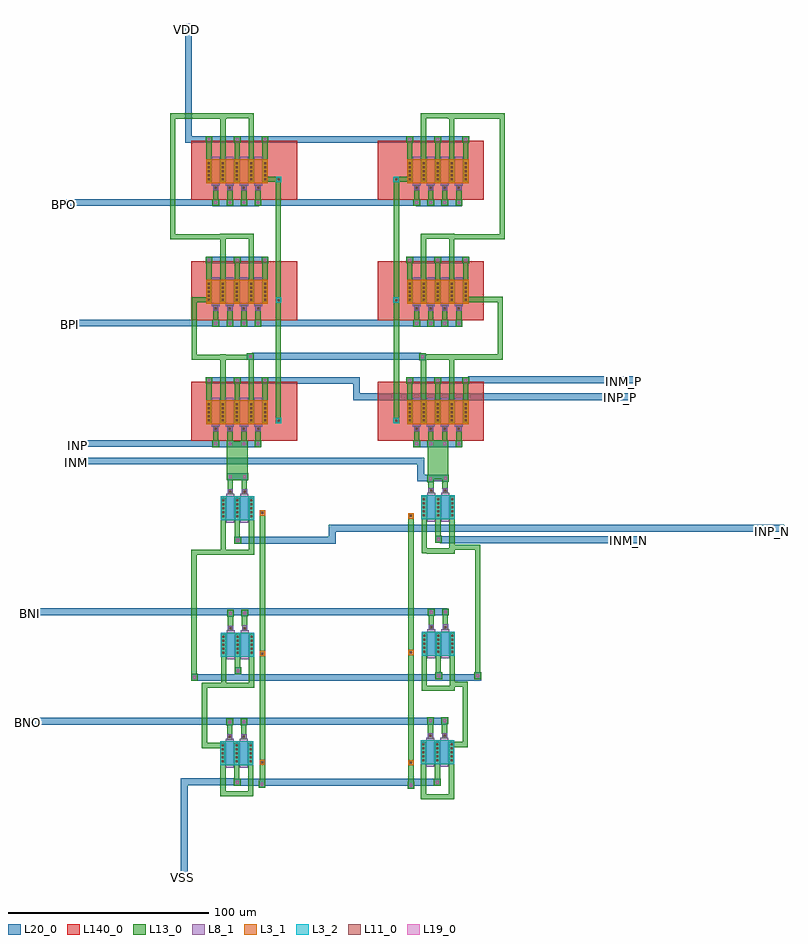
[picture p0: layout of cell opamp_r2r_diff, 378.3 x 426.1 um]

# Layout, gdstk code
from math import pi, radians
import gdstk
lib = gdstk.Library(unit=1e-6, precision=1e-07)
def R(c, l, rs):  # rectangles x0, y0, x1, y1
    for r in rs: c.add(gdstk.rectangle(r[:2], r[2:], *l))
def A(c, l, x, y, w, h, nx, ny, dx, dy):  # array of equal rectangles
    R(c, l, [(x+i*dx, y+j*dy, x+i*dx+w, y+j*dy+h) for i in range(nx) for j in range(ny)])
L3_1 = (3, 1)
L3_2 = (3, 2)
L8_1 = (8, 1)
L11_0 = (11, 0)
L13_0 = (13, 0)
L19_0 = (19, 0)
L20_0 = (20, 0)
L140_0 = (140, 0)

cont_n = lib.new_cell('cont_n')
R(cont_n, L3_2, [(-1.3,-1.3,1.3,1.3)])
R(cont_n, L11_0, [(-0.5,-0.5,0.5,0.5)])
R(cont_n, L13_0, [(-1.3,-1.3,1.3,1.3)])

via_1 = lib.new_cell('via_1')
R(via_1, L13_0, [(-1.7,-1.7,1.7,1.7)])
R(via_1, L19_0, [(-0.7,-0.7,0.7,0.7)])
R(via_1, L20_0, [(-1.7,-1.7,1.7,1.7)])

cont_g = lib.new_cell('cont_g')
R(cont_g, L8_1, [(-1.3,-1.3,1.3,1.3)])
R(cont_g, L11_0, [(-0.5,-0.5,0.5,0.5)])
R(cont_g, L13_0, [(-1.3,-1.3,1.3,1.3)])

fet_p = lib.new_cell('fet_p')
R(fet_p, L3_1, [(-15.3,-6,15.3,6)])
A(fet_p, L11_0, -14.5, -4.5, 1, 1, 5, 5, 7, 2)
A(fet_p, L13_0, -15.3, -5.3, 2.6, 10.6, 5, 1, 7, 0)
fet_p.add(gdstk.FlexPath([(3.5,-7.2),(3.5,7.2)], 4, ends="flush", simple_path=True, layer=8, datatype=1))  # L8_1
fet_p.add(gdstk.FlexPath([(-3.5,-7.2),(-3.5,7.2)], 4, ends="flush", simple_path=True, layer=8, datatype=1))  # L8_1
fet_p.add(gdstk.FlexPath([(10.5,-7.2),(10.5,7.2)], 4, ends="flush", simple_path=True, layer=8, datatype=1))  # L8_1
fet_p.add(gdstk.FlexPath([(-10.5,-7.2),(-10.5,7.2)], 4, ends="flush", simple_path=True, layer=8, datatype=1))  # L8_1

pfet_std = lib.new_cell('PFET_STD')
A(pfet_std, L140_0, 12.2, 3.3, 52.8, 29.2, 1, 3, 0, 60)
pfet_std.add(gdstk.FlexPath([(43.4,165),(27,165)], 2.6, ends="flush", simple_path=True, layer=13, datatype=0))  # L13_0
pfet_std.add(gdstk.FlexPath([(42.1,142.6),(42.1,166.2)], 2.6, ends="flush", simple_path=True, layer=13, datatype=0))  # L13_0
pfet_std.add(gdstk.FlexPath([(45.5,68.4),(45.5,63.4)], 2.6, ends="flush", simple_path=True, layer=13, datatype=0))  # L13_0
pfet_std.add(gdstk.FlexPath([(45.5,128.4),(45.5,123.4)], 2.6, ends="flush", simple_path=True, layer=13, datatype=0))  # L13_0
pfet_std.add(gdstk.FlexPath([(38.5,68.4),(38.5,63.4)], 2.6, ends="flush", simple_path=True, layer=13, datatype=0))  # L13_0
pfet_std.add(gdstk.FlexPath([(38.5,128.4),(38.5,123.4)], 2.6, ends="flush", simple_path=True, layer=13, datatype=0))  # L13_0
pfet_std.add(gdstk.FlexPath([(31.5,68.4),(31.5,63.4)], 2.6, ends="flush", simple_path=True, layer=13, datatype=0))  # L13_0
pfet_std.add(gdstk.FlexPath([(31.5,128.4),(31.5,123.4)], 2.6, ends="flush", simple_path=True, layer=13, datatype=0))  # L13_0
pfet_std.add(gdstk.FlexPath([(28.1,82.4),(28.1,106.3)], 2.6, ends="flush", simple_path=True, layer=13, datatype=0))  # L13_0
pfet_std.add(gdstk.FlexPath([(28.1,142.4),(28.1,166.3)], 2.6, ends="flush", simple_path=True, layer=13, datatype=0))  # L13_0
pfet_std.add(gdstk.FlexPath([(35.1,82.6),(35.1,91.9)], 2.6, ends="flush", simple_path=True, layer=13, datatype=0))  # L13_0
pfet_std.add(gdstk.FlexPath([(35.1,142.6),(35.1,151.9)], 2.6, ends="flush", simple_path=True, layer=13, datatype=0))  # L13_0
pfet_std.add(gdstk.FlexPath([(49,82.5),(49,91.8)], 2.6, ends="flush", simple_path=True, layer=13, datatype=0))  # L13_0
pfet_std.add(gdstk.FlexPath([(49,142.5),(49,151.8)], 2.6, ends="flush", simple_path=True, layer=13, datatype=0))  # L13_0
pfet_std.add(gdstk.FlexPath([(24.5,68.4),(24.5,63.4)], 2.6, ends="flush", simple_path=True, layer=13, datatype=0))  # L13_0
pfet_std.add(gdstk.FlexPath([(24.5,128.4),(24.5,123.4)], 2.6, ends="flush", simple_path=True, layer=13, datatype=0))  # L13_0
pfet_std.add(gdstk.FlexPath([(21.1,82.6),(21.1,91.9)], 2.6, ends="flush", simple_path=True, layer=13, datatype=0))  # L13_0
pfet_std.add(gdstk.FlexPath([(21.1,142.6),(21.1,151.9)], 2.6, ends="flush", simple_path=True, layer=13, datatype=0))  # L13_0
pfet_std.add(gdstk.FlexPath([(28.2,104.8),(3,104.8),(3,164.9),(30,164.9)], 2.6, ends="flush", simple_path=True, layer=13, datatype=0))  # L13_0
pfet_std.add(gdstk.FlexPath([(49.1,133.4),(55.6,133.4),(55.6,12)], 2.6, ends="flush", simple_path=True, layer=13, datatype=0))  # L13_0
pfet_std.add(gdstk.FlexPath([(42.1,22.6),(42.1,46.2)], 2.6, ends="flush", simple_path=True, layer=13, datatype=0))  # L13_0
pfet_std.add(gdstk.FlexPath([(45.5,8.4),(45.5,3.4)], 2.6, ends="flush", simple_path=True, layer=13, datatype=0))  # L13_0
pfet_std.add(gdstk.FlexPath([(38.5,8.4),(38.5,3.4)], 2.6, ends="flush", simple_path=True, layer=13, datatype=0))  # L13_0
pfet_std.add(gdstk.FlexPath([(31.5,8.4),(31.5,3.4)], 2.6, ends="flush", simple_path=True, layer=13, datatype=0))  # L13_0
pfet_std.add(gdstk.FlexPath([(28.1,22.4),(28.1,46.3)], 2.6, ends="flush", simple_path=True, layer=13, datatype=0))  # L13_0
pfet_std.add(gdstk.FlexPath([(35.1,22.6),(35.1,31.9)], 2.6, ends="flush", simple_path=True, layer=13, datatype=0))  # L13_0
pfet_std.add(gdstk.FlexPath([(49,22.5),(49,31.8)], 2.6, ends="flush", simple_path=True, layer=13, datatype=0))  # L13_0
pfet_std.add(gdstk.FlexPath([(24.5,8.4),(24.5,3.4)], 2.6, ends="flush", simple_path=True, layer=13, datatype=0))  # L13_0
pfet_std.add(gdstk.FlexPath([(21.1,22.6),(21.1,31.9)], 2.6, ends="flush", simple_path=True, layer=13, datatype=0))  # L13_0
pfet_std.add(gdstk.FlexPath([(42.1,82.6),(42.1,106.2)], 2.6, ends="flush", simple_path=True, layer=13, datatype=0))  # L13_0
pfet_std.add(gdstk.FlexPath([(43.4,105),(27,105)], 2.6, ends="flush", simple_path=True, layer=13, datatype=0))  # L13_0
pfet_std.add(gdstk.FlexPath([(20,93.2),(50.4,93.2)], 3.4, ends="flush", simple_path=True, layer=20, datatype=0))  # L20_0
pfet_std.add(gdstk.FlexPath([(20,153.2),(50.4,153.2)], 3.4, ends="flush", simple_path=True, layer=20, datatype=0))  # L20_0
pfet_std.add(gdstk.FlexPath([(45.8,61.7),(23,61.7)], 3.4, ends="flush", simple_path=True, layer=20, datatype=0))  # L20_0
pfet_std.add(gdstk.FlexPath([(45.8,121.7),(23,121.7)], 3.4, ends="flush", simple_path=True, layer=20, datatype=0))  # L20_0
pfet_std.add(gdstk.FlexPath([(20,33.2),(50.4,33.2)], 3.4, ends="flush", simple_path=True, layer=20, datatype=0))  # L20_0
pfet_std.add(gdstk.FlexPath([(45.8,1.7),(23,1.7)], 3.4, ends="flush", simple_path=True, layer=20, datatype=0))  # L20_0
pfet_std.add(gdstk.Reference(cont_n, (55.8,73.3)))
pfet_std.add(gdstk.Reference(via_1, (45.5,61.8)))
pfet_std.add(gdstk.Reference(via_1, (38.5,61.8)))
pfet_std.add(gdstk.Reference(via_1, (31.5,61.8)))
pfet_std.add(gdstk.Reference(via_1, (35.1,93.2)))
pfet_std.add(gdstk.Reference(via_1, (49,93.2)))
pfet_std.add(gdstk.Reference(cont_g, (45.5,69.3)))
pfet_std.add(gdstk.Reference(cont_g, (38.5,69.3)))
pfet_std.add(gdstk.Reference(cont_g, (31.5,69.3)))
pfet_std.add(gdstk.Reference(via_1, (24.5,61.8)))
pfet_std.add(gdstk.Reference(via_1, (21.1,93.2)))
pfet_std.add(gdstk.Reference(fet_p, (35,137.4)))
pfet_std.add(gdstk.Reference(cont_g, (24.5,69.3)))
pfet_std.add(gdstk.Reference(cont_g, (24.5,129.3)))
pfet_std.add(gdstk.Reference(fet_p, (35,77.4)))
pfet_std.add(gdstk.Reference(via_1, (21.1,153.2)))
pfet_std.add(gdstk.Reference(via_1, (24.5,121.8)))
pfet_std.add(gdstk.Reference(cont_g, (31.5,129.3)))
pfet_std.add(gdstk.Reference(cont_g, (38.5,129.3)))
pfet_std.add(gdstk.Reference(cont_g, (45.5,129.3)))
pfet_std.add(gdstk.Reference(via_1, (49,153.2)))
pfet_std.add(gdstk.Reference(via_1, (35.1,153.2)))
pfet_std.add(gdstk.Reference(via_1, (31.5,121.8)))
pfet_std.add(gdstk.Reference(via_1, (38.5,121.8)))
pfet_std.add(gdstk.Reference(via_1, (45.5,121.8)))
pfet_std.add(gdstk.Reference(cont_n, (55.8,133.3)))
pfet_std.add(gdstk.Reference(fet_p, (35,17.4)))
pfet_std.add(gdstk.Reference(cont_g, (24.5,9.3)))
pfet_std.add(gdstk.Reference(via_1, (21.1,33.2)))
pfet_std.add(gdstk.Reference(via_1, (24.5,1.8)))
pfet_std.add(gdstk.Reference(cont_g, (31.5,9.3)))
pfet_std.add(gdstk.Reference(cont_g, (38.5,9.3)))
pfet_std.add(gdstk.Reference(cont_g, (45.5,9.3)))
pfet_std.add(gdstk.Reference(via_1, (49,33.2)))
pfet_std.add(gdstk.Reference(via_1, (35.1,33.2)))
pfet_std.add(gdstk.Reference(via_1, (31.5,1.8)))
pfet_std.add(gdstk.Reference(via_1, (38.5,1.8)))
pfet_std.add(gdstk.Reference(via_1, (45.5,1.8)))
pfet_std.add(gdstk.Reference(cont_n, (55.8,13.3)))

nfet_std = lib.new_cell('NFET_STD')

nfet_std_2 = lib.new_cell('NFET_STD_2')
nfet_std_2.add(gdstk.Reference(nfet_std, (0,0)))
nfet_std_2.add(gdstk.Reference(nfet_std, (0,60)))
nfet_std_2.add(gdstk.Reference(nfet_std, (-4.6,120.9)))

fet_n = lib.new_cell('fet_n')
R(fet_n, L3_2, [(-8.3,-6,8.3,6)])
A(fet_n, L11_0, -7.5, -4.5, 1, 1, 3, 5, 7, 2)
A(fet_n, L13_0, -8.3, -5.3, 2.6, 10.6, 3, 1, 7, 0)
fet_n.add(gdstk.FlexPath([(3.5,-7.2),(3.5,7.2)], 4, ends="flush", simple_path=True, layer=8, datatype=1))  # L8_1
fet_n.add(gdstk.FlexPath([(-3.5,-7.2),(-3.5,7.2)], 4, ends="flush", simple_path=True, layer=8, datatype=1))  # L8_1

nfet_std_3 = lib.new_cell('NFET_STD_3')
nfet_std_3.add(gdstk.FlexPath([(8.6,138.8),(8.6,128.7)], 2.6, ends="flush", simple_path=True, layer=13, datatype=0))  # L13_0
nfet_std_3.add(gdstk.FlexPath([(5.1,152.8),(5.1,157.9)], 2.6, ends="flush", simple_path=True, layer=13, datatype=0))  # L13_0
nfet_std_3.add(gdstk.FlexPath([(12.1,152.7),(12.1,158.1)], 2.6, ends="flush", simple_path=True, layer=13, datatype=0))  # L13_0
nfet_std_3.add(gdstk.FlexPath([(2.6,1.3),(16.6,1.3)], 2.6, ends="flush", simple_path=True, layer=13, datatype=0))  # L13_0
nfet_std_3.add(gdstk.FlexPath([(15.2,16.5),(15.2,0.1)], 2.6, ends="flush", simple_path=True, layer=13, datatype=0))  # L13_0
nfet_std_3.add(gdstk.FlexPath([(1.4,16.5),(1.4,0.1)], 2.6, ends="flush", simple_path=True, layer=13, datatype=0))  # L13_0
nfet_std_3.add(gdstk.FlexPath([(8.3,16.8),(8.3,6.7)], 2.6, ends="flush", simple_path=True, layer=13, datatype=0))  # L13_0
nfet_std_3.add(gdstk.FlexPath([(4.8,30.8),(4.8,35.9)], 2.6, ends="flush", simple_path=True, layer=13, datatype=0))  # L13_0
nfet_std_3.add(gdstk.FlexPath([(11.8,30.7),(11.8,36.1)], 2.6, ends="flush", simple_path=True, layer=13, datatype=0))  # L13_0
nfet_std_3.add(gdstk.FlexPath([(3,55.4),(17,55.4)], 2.6, ends="flush", simple_path=True, layer=13, datatype=0))  # L13_0
nfet_std_3.add(gdstk.FlexPath([(15.6,70.6),(15.6,54.2)], 2.6, ends="flush", simple_path=True, layer=13, datatype=0))  # L13_0
nfet_std_3.add(gdstk.FlexPath([(1.8,70.6),(1.8,54.2)], 2.6, ends="flush", simple_path=True, layer=13, datatype=0))  # L13_0
nfet_std_3.add(gdstk.FlexPath([(8.7,70.9),(8.7,60.8)], 2.6, ends="flush", simple_path=True, layer=13, datatype=0))  # L13_0
nfet_std_3.add(gdstk.FlexPath([(5.2,84.9),(5.2,90)], 2.6, ends="flush", simple_path=True, layer=13, datatype=0))  # L13_0
nfet_std_3.add(gdstk.FlexPath([(12.2,84.8),(12.2,90.2)], 2.6, ends="flush", simple_path=True, layer=13, datatype=0))  # L13_0
nfet_std_3.add(gdstk.Reference(via_1, (8.8,127.5)))
nfet_std_3.add(gdstk.Reference(via_1, (12.2,159.2)))
nfet_std_3.add(gdstk.Reference(via_1, (5.1,159.1)))
nfet_std_3.add(gdstk.Reference(cont_g, (12.2,151.7)))
nfet_std_3.add(gdstk.Reference(cont_g, (5.1,151.6)))
nfet_std_3.add(gdstk.Reference(fet_n, (8.3,21.5)))
nfet_std_3.add(gdstk.Reference(cont_g, (4.8,29.6)))
nfet_std_3.add(gdstk.Reference(cont_g, (11.9,29.7)))
nfet_std_3.add(gdstk.Reference(via_1, (4.8,37.1)))
nfet_std_3.add(gdstk.Reference(via_1, (11.9,37.2)))
nfet_std_3.add(gdstk.Reference(via_1, (8.5,7.1)))
nfet_std_3.add(gdstk.Reference(fet_n, (8.7,75.6)))
nfet_std_3.add(gdstk.Reference(cont_g, (5.2,83.7)))
nfet_std_3.add(gdstk.Reference(cont_g, (12.3,83.8)))
nfet_std_3.add(gdstk.Reference(via_1, (5.2,91.2)))
nfet_std_3.add(gdstk.Reference(via_1, (12.3,91.3)))
nfet_std_3.add(gdstk.Reference(via_1, (8.9,62.5)))
nfet_std_3.add(gdstk.Reference(fet_n, (8.6,143.5)))

cont_p = lib.new_cell('cont_p')
R(cont_p, L3_1, [(-1.3,-1.3,1.3,1.3)])
R(cont_p, L11_0, [(-0.5,-0.5,0.5,0.5)])
R(cont_p, L13_0, [(-1.3,-1.3,1.3,1.3)])

opamp_r2r_diff = lib.new_cell('opamp_r2r_diff')
opamp_r2r_diff.add(gdstk.FlexPath([(0.8,53.4),(-6.3,53.4),(-6.3,24.8),(23.4,24.8)], 2.6, ends="flush", simple_path=True, layer=13, datatype=0))  # L13_0
opamp_r2r_diff.add(gdstk.FlexPath([(108,24.9),(146,24.9),(146,53.6),(128.5,53.6)], 2.6, ends="flush", simple_path=True, layer=13, datatype=0))  # L13_0
opamp_r2r_diff.add(gdstk.FlexPath([(15.2,-36.3),(15.2,-17)], 10.4, ends="flush", simple_path=True, layer=13, datatype=0))  # L13_0
opamp_r2r_diff.add(gdstk.FlexPath([(109.4,-71.6),(123.4,-71.6)], 2.6, ends="flush", simple_path=True, layer=13, datatype=0))  # L13_0
opamp_r2r_diff.add(gdstk.FlexPath([(122,-54.8),(122,-71.2)], 2.6, ends="flush", simple_path=True, layer=13, datatype=0))  # L13_0
opamp_r2r_diff.add(gdstk.FlexPath([(108.2,-54.8),(108.2,-72.8)], 2.6, ends="flush", simple_path=True, layer=13, datatype=0))  # L13_0
opamp_r2r_diff.add(gdstk.FlexPath([(115.1,-54.5),(115.1,-64.6)], 2.6, ends="flush", simple_path=True, layer=13, datatype=0))  # L13_0
opamp_r2r_diff.add(gdstk.FlexPath([(111.6,-40.5),(111.6,-35.4)], 2.6, ends="flush", simple_path=True, layer=13, datatype=0))  # L13_0
opamp_r2r_diff.add(gdstk.FlexPath([(118.6,-40.6),(118.6,-35.2)], 2.6, ends="flush", simple_path=True, layer=13, datatype=0))  # L13_0
opamp_r2r_diff.add(gdstk.FlexPath([(107.9,-177),(107.9,-193.9),(121.8,-193.9),(121.8,-176.9),(121.8,-176.9)], 2.6, ends="flush", simple_path=True, layer=13, datatype=0))  # L13_0
opamp_r2r_diff.add(gdstk.FlexPath([(122.7,-168),(128.7,-168),(128.7,-137.9),(122.1,-137.9),(122.1,-122.5)], 2.6, ends="flush", simple_path=True, layer=13, datatype=0))  # L13_0
opamp_r2r_diff.add(gdstk.FlexPath([(108.2,-122.7),(108.2,-140),(123.4,-140)], 2.6, ends="flush", simple_path=True, layer=13, datatype=0))  # L13_0
opamp_r2r_diff.add(gdstk.FlexPath([(114.8,-176.5),(114.8,-186.6)], 2.6, ends="flush", simple_path=True, layer=13, datatype=0))  # L13_0
opamp_r2r_diff.add(gdstk.FlexPath([(111.3,-162.5),(111.3,-157.4)], 2.6, ends="flush", simple_path=True, layer=13, datatype=0))  # L13_0
opamp_r2r_diff.add(gdstk.FlexPath([(118.3,-162.6),(118.3,-157.2)], 2.6, ends="flush", simple_path=True, layer=13, datatype=0))  # L13_0
opamp_r2r_diff.add(gdstk.FlexPath([(-6.4,-136),(-6.4,-72.2),(22.2,-72.2),(22.2,-55.4)], 2.6, ends="flush", simple_path=True, layer=13, datatype=0))  # L13_0
opamp_r2r_diff.add(gdstk.FlexPath([(8.2,-55.6),(8.2,-71.1)], 2.6, ends="flush", simple_path=True, layer=13, datatype=0))  # L13_0
opamp_r2r_diff.add(gdstk.FlexPath([(115.2,-122.4),(115.2,-132.5)], 2.6, ends="flush", simple_path=True, layer=13, datatype=0))  # L13_0
opamp_r2r_diff.add(gdstk.FlexPath([(111.7,-108.4),(111.7,-103.3)], 2.6, ends="flush", simple_path=True, layer=13, datatype=0))  # L13_0
opamp_r2r_diff.add(gdstk.FlexPath([(118.7,-108.5),(118.7,-103.1)], 2.6, ends="flush", simple_path=True, layer=13, datatype=0))  # L13_0
opamp_r2r_diff.add(gdstk.FlexPath([(115.1,-35.8),(115.1,-16.5)], 10.4, ends="flush", simple_path=True, layer=13, datatype=0))  # L13_0
opamp_r2r_diff.add(gdstk.FlexPath([(27.7,-53.7),(27.7,-189.2)], 2.6, ends="flush", simple_path=True, layer=13, datatype=0))  # L13_0
opamp_r2r_diff.add(gdstk.FlexPath([(101.6,-54.7),(101.6,-189.7)], 2.6, ends="flush", simple_path=True, layer=13, datatype=0))  # L13_0
opamp_r2r_diff.add(gdstk.FlexPath([(9.6,-138.4),(-1.2,-138.4),(-1.2,-168.4),(7,-168.4)], 2.6, ends="flush", simple_path=True, layer=13, datatype=0))  # L13_0
opamp_r2r_diff.add(gdstk.FlexPath([(122.2,-69.8),(134.8,-69.8),(134.8,-135.1)], 2.6, ends="flush", simple_path=True, layer=13, datatype=0))  # L13_0
opamp_r2r_diff.add(gdstk.FlexPath([(-6.3,-134.6),(136.6,-134.6)], 3.4, ends="flush", simple_path=True, layer=20, datatype=0))  # L20_0
opamp_r2r_diff.add(gdstk.FlexPath([(119.8,-101.9),(-90,-101.9)], 3.4, ends="flush", simple_path=True, layer=20, datatype=0))  # L20_0
opamp_r2r_diff.add(gdstk.FlexPath([(118.9,-156.4),(-91,-156.4)], 3.4, ends="flush", simple_path=True, layer=20, datatype=0))  # L20_0
opamp_r2r_diff.add(gdstk.FlexPath([(113.4,-186.7),(16.4,-186.7)], 3.4, ends="flush", simple_path=True, layer=20, datatype=0))  # L20_0
opamp_r2r_diff.add(gdstk.FlexPath([(13.6,-186.5),(-11.2,-186.5),(-11.2,-235.4)], 3.4, ends="flush", simple_path=True, layer=20, datatype=0))  # L20_0
opamp_r2r_diff.add(gdstk.FlexPath([(16.5,-66.3),(62.4,-66.3),(62.4,-60.3),(287.3,-60.3)], 3.4, ends="flush", simple_path=True, layer=20, datatype=0))  # L20_0
opamp_r2r_diff.add(gdstk.FlexPath([(116.3,-66),(215.4,-66)], 3.4, ends="flush", simple_path=True, layer=20, datatype=0))  # L20_0
opamp_r2r_diff.add(gdstk.FlexPath([(120,-35.3),(106.5,-35.3),(106.5,-26.8),(-67.6,-26.8)], 3.4, ends="flush", simple_path=True, layer=20, datatype=0))  # L20_0
opamp_r2r_diff.add(gdstk.FlexPath([(10.2,-34.6),(20.4,-34.6)], 3.4, ends="flush", simple_path=True, layer=20, datatype=0))  # L20_0
opamp_r2r_diff.add(gdstk.FlexPath([(27.5,13.2),(74.5,13.2),(74.5,5.2),(211.9,5.2)], 3.4, ends="flush", simple_path=True, layer=20, datatype=0))  # L20_0
opamp_r2r_diff.add(gdstk.FlexPath([(22.5,25.3),(106.6,25.3)], 3.4, ends="flush", simple_path=True, layer=20, datatype=0))  # L20_0
opamp_r2r_diff.add(gdstk.FlexPath([(27,101.8),(103.2,101.8)], 3.4, ends="flush", simple_path=True, layer=20, datatype=0))  # L20_0
opamp_r2r_diff.add(gdstk.FlexPath([(2.9,-18.1),(-65.5,-18.1)], 3.4, ends="flush", simple_path=True, layer=20, datatype=0))  # L20_0
opamp_r2r_diff.add(gdstk.FlexPath([(130.1,13.6),(214.3,13.6)], 3.4, ends="flush", simple_path=True, layer=20, datatype=0))  # L20_0
opamp_r2r_diff.add(gdstk.FlexPath([(103.2,41.9),(-68.9,41.9)], 3.4, ends="flush", simple_path=True, layer=20, datatype=0))  # L20_0
opamp_r2r_diff.add(gdstk.FlexPath([(3.1,101.8),(-72.3,101.8)], 3.4, ends="flush", simple_path=True, layer=20, datatype=0))  # L20_0
opamp_r2r_diff.add(gdstk.FlexPath([(99.8,133.2),(30,133.2)], 3.4, ends="flush", simple_path=True, layer=20, datatype=0))  # L20_0
opamp_r2r_diff.add(gdstk.FlexPath([(-0.3,133.2),(-9.1,133.2),(-9.1,190.7)], 3.4, ends="flush", simple_path=True, layer=20, datatype=0))  # L20_0
opamp_r2r_diff.add(gdstk.Reference(pfet_std, (-20,-20)))
opamp_r2r_diff.add(gdstk.Reference(pfet_std, (150,-20), rotation=pi, x_reflection=True))
opamp_r2r_diff.add(gdstk.Reference(nfet_std_2, (113.8,-199), rotation=pi, x_reflection=True))
opamp_r2r_diff.add(gdstk.Reference(nfet_std_2, (0,-200)))
opamp_r2r_diff.add(gdstk.Reference(nfet_std, (12.2,-63)))
opamp_r2r_diff.add(gdstk.Reference(nfet_std_3, (6.6,-193.8)))
opamp_r2r_diff.add(gdstk.Reference(via_1, (115.3,-65.8)))
opamp_r2r_diff.add(gdstk.Reference(cont_g, (118.7,-41.6)))
opamp_r2r_diff.add(gdstk.Reference(cont_g, (111.6,-41.7)))
opamp_r2r_diff.add(gdstk.Reference(fet_n, (115.1,-49.8)))
opamp_r2r_diff.add(gdstk.Reference(fet_n, (114.8,-171.8)))
opamp_r2r_diff.add(gdstk.Reference(cont_g, (111.3,-163.7)))
opamp_r2r_diff.add(gdstk.Reference(cont_g, (118.4,-163.6)))
opamp_r2r_diff.add(gdstk.Reference(via_1, (111.3,-156.2)))
opamp_r2r_diff.add(gdstk.Reference(via_1, (118.4,-156.1)))
opamp_r2r_diff.add(gdstk.Reference(via_1, (114.7,-186.7)))
opamp_r2r_diff.add(gdstk.Reference(fet_n, (115.2,-117.7)))
opamp_r2r_diff.add(gdstk.Reference(cont_g, (111.7,-109.6)))
opamp_r2r_diff.add(gdstk.Reference(cont_g, (118.8,-109.5)))
opamp_r2r_diff.add(gdstk.Reference(via_1, (111.7,-102.1)))
opamp_r2r_diff.add(gdstk.Reference(via_1, (118.8,-102)))
opamp_r2r_diff.add(gdstk.Reference(via_1, (115.4,-133.7)))
opamp_r2r_diff.add(gdstk.Reference(cont_p, (101.6,-54.2)))
opamp_r2r_diff.add(gdstk.Reference(cont_p, (101.6,-122.1)))
opamp_r2r_diff.add(gdstk.Reference(via_1, (-6.1,-134.5)))
opamp_r2r_diff.add(gdstk.Reference(via_1, (134.8,-133.8)))
opamp_r2r_diff.add(gdstk.Reference(via_1, (27.5,-187.8)))
opamp_r2r_diff.add(gdstk.Reference(via_1, (101.6,-188.2)))
opamp_r2r_diff.add(gdstk.Reference(via_1, (118.8,-35.4)))
opamp_r2r_diff.add(gdstk.Reference(via_1, (111.3,-35.6)))
opamp_r2r_diff.add(gdstk.Reference(via_1, (107.4,25.1)))
opamp_r2r_diff.add(gdstk.Reference(via_1, (21.7,25.2)))
opamp_r2r_diff.add(gdstk.Reference(cont_p, (27.6,-176.8)))
opamp_r2r_diff.add(gdstk.Reference(cont_p, (101.6,-177)))
opamp_r2r_diff.add(gdstk.Reference(cont_p, (27.7,-122.7)))
opamp_r2r_diff.add(gdstk.Reference(cont_p, (27.7,-52.7)))
opamp_r2r_diff.add(gdstk.Label('BPO', (-71.2,101), layer=49, texttype=0))
opamp_r2r_diff.add(gdstk.Label('VDD', (-10.1,187.9), layer=49, texttype=0))
opamp_r2r_diff.add(gdstk.Label('BPI', (-67.9,40.9), layer=49, texttype=0))
opamp_r2r_diff.add(gdstk.Label('INP', (-64.3,-19), layer=49, texttype=0))
opamp_r2r_diff.add(gdstk.Label('INM', (-64.9,-27.6), layer=49, texttype=0))
opamp_r2r_diff.add(gdstk.Label('BNO', (-89.1,-157.2), layer=49, texttype=0))
opamp_r2r_diff.add(gdstk.Label('BNI', (-87.7,-102.6), layer=49, texttype=0))
opamp_r2r_diff.add(gdstk.Label('VSS', (-11.9,-234.1), layer=49, texttype=0))
opamp_r2r_diff.add(gdstk.Label('INP_P', (206.1,4.7), layer=49, texttype=0))
opamp_r2r_diff.add(gdstk.Label('INM_P', (207.5,12.9), layer=49, texttype=0))
opamp_r2r_diff.add(gdstk.Label('INP_N', (281.6,-61.7), layer=49, texttype=0))
opamp_r2r_diff.add(gdstk.Label('INM_N', (209.7,-66.5), layer=49, texttype=0))

lib.write_gds('opamp_r2r_diff.gds')
